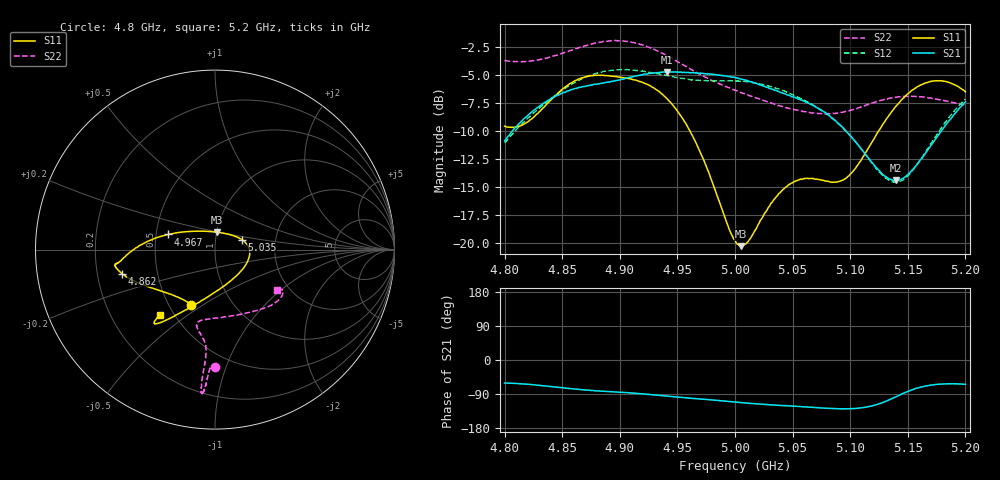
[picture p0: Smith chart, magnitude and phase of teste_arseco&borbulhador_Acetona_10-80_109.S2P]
! Network Analyzer HP8722D
! Hewlett-Packard
! Data name: Linha & Wilkinson
! Saver's name: Rodrigo Anjos
! Comments: Teste da utilização de aquisição
! continua pelo VNA HP8722D
! Time and date: 17/4/2025 15:16
!  Frequency  S11  S21  S12  S22
# HZ  S  MA R 50
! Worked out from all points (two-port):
!   401 points, 4.8 GHz to 5.2 GHz, reference 50 ohm
!   highest |S21| = -4.68 dB at 4.941 GHz (marker M1); lowest = -14.4 dB at 5.14 GHz (marker M2)
!   |S21| within 3 dB of the highest: 4.831 GHz to 5.068 GHz (236.7 MHz wide, 4.78 % of centre); 5.197215 GHz to end of sweep
!   lowest |S11| = -20.3 dB at 5.005 GHz (marker M3), VSWR 1.22, Z = 49.9 + j9.75 ohm
!   |S11| at or under -10 dB: 4.961 GHz to 5.124 GHz (163.3 MHz wide, 3.24 % of centre)
!   |S22| runs from -8.4 to -1.9 dB; largest |S21 - S12| = 0.88
!   S11 on the Smith chart (normalised r, x): 4.8 GHz: 0.65, -0.45; 4.862 GHz: 0.31, -0.12; 4.967 GHz: 0.58, +0.11; 5.035 GHz: 1.34, +0.15; 5.2 GHz: 0.42, -0.39
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4.8e9  0.3337 -113.1  0.2867 -60.7  0.2805 -174.9  0.6564 -89.8
4.819e9  0.3463 -133.1  0.3683 -63.9  0.3567 -173.4  0.6502 -91.5
4.862e9  0.5352 -165.5  0.4921 -76.9  0.5275 -176.6  0.7411 -93.7
4.867e9  0.548 -167.4  0.5 -78.5  0.5432 -177.6  0.7565 -93.9
4.9e9  0.5526 -172.0  0.537 -84.9  0.5962 175.8  0.8031 -95.3
4.934e9  0.4774 -178.0  0.5797 -93.3  0.5719 172.0  0.7173 -95.7
4.941e9  0.4427 178.9  0.5837 -95.3  0.5623 171.9  0.6897 -95.5
4.955e9  0.3581 171.2  0.5806 -99.2  0.5447 172.5  0.6269 -95.0
4.967e9  0.2751 162.1  0.5772 -102.0  0.5353 174.0  0.5771 -95.0
5e9  0.103 102.7  0.5497 -110.9  0.5332 176.4  0.4833 -99.0
5.005e9  0.0971 85.0  0.5426 -112.1  0.5298 176.4  0.4709 -100.2
5.012e9  0.1031 62.3  0.5289 -114.1  0.5256 176.0  0.4579 -101.8
5.035e9  0.1591 20.5  0.4826 -119.1  0.4947 175.0  0.4168 -103.4
5.05e9  0.1865 5.2  0.4521 -121.8  0.4606 174.3  0.3973 -99.7
5.067e9  0.1948 -13.1  0.4157 -124.7  0.4176 173.9  0.3822 -90.8
5.086e9  0.1877 -43.1  0.357 -128.3  0.3566 173.6  0.3801 -76.5
5.097e9  0.1962 -65.6  0.3148 -128.8  0.3155 174.6  0.3888 -67.4
5.134e9  0.3745 -116.0  0.1939 -104.8  0.1907 -157.9  0.4445 -42.9
5.14e9  0.4113 -119.6  0.1909 -96.6  0.1877 -148.3  0.4496 -40.4
5.152e9  0.4744 -124.4  0.2072 -80.7  0.2046 -129.9  0.4538 -36.0
5.17e9  0.5288 -128.6  0.273 -66.2  0.2788 -112.5  0.4454 -31.9
5.2e9  0.4754 -130.3  0.4281 -64.1  0.4405 -106.3  0.415 -33.2
